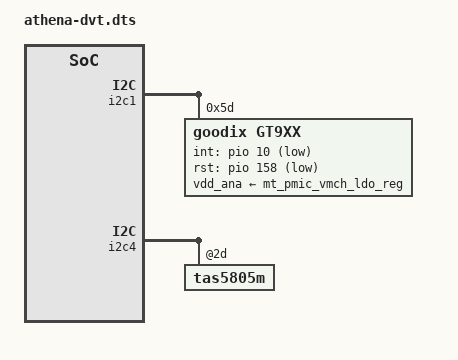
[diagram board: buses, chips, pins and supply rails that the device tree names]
/*
 * Copyright (C) 2020 MediaTek Inc.
 *
 * This program is free software; you can redistribute it and/or modify
 * it under the terms of the GNU General Public License version 2 as
 * published by the Free Software Foundation.
 *
 * This program is distributed in the hope that it will be useful,
 * but WITHOUT ANY WARRANTY; without even the implied warranty of
 * MERCHANTABILITY or FITNESS FOR A PARTICULAR PURPOSE.  See the
 * GNU General Public License for more details.  */


#include "athena.dtsi"
#include <dt-bindings/clock/mt8183-clk.h>

/ {
	compatible = "amzn,athena-pvt", "amzn,athena-dvt", "amzn,athena";

	aliases {
		mute_led_pwm = &pwm;
	};
};

&pwm {
	muteled-enable-two-point-cal;
	invert;
};

/* goodix touch screen */
&i2c1 {
	gt9xx@5d {
		compatible = "goodix,gt9xx";
		reg = <0x5d>;
		irq-flags = <2>;
		vdd_ana-supply = <&mt_pmic_vmch_ldo_reg>;
		int-gpio = <&pio 10 GPIO_ACTIVE_LOW>;
		rst-gpio = <&pio 158 GPIO_ACTIVE_LOW>;
		touchscreen-max-id = <11>;
		touchscreen-size-x = <800>;
		touchscreen-size-y = <1280>;
		touchscreen-max-w = <512>;
		touchscreen-max-p = <512>;
		goodix,slide-wakeup = <0>;
		goodix,type-a-report = <0>;
		goodix,driver-send-cfg = <0>;
		goodix,resume-in-workqueue = <0>;
		goodix,int-sync = <1>;
		goodix,swap-x2y = <1>;
		goodix,esd-protect = <1>;
		goodix,auto-update-cfg = <1>;
		goodix,auto-update = <1>;
		goodix,power-off-sleep = <1>;
		goodix,pen-suppress-finger = <0>;
		status = "okay";
	};
};

/* Remove temp sensor */
&i2c3 {
	tmp103_i2c3_71: tmp103@71 {
		status = "disabled";
	};
	tmp103_i2c3_72: tmp103@72 {
		status = "disabled";
	};
	tmp103_i2c3_73: tmp103@73 {
		status = "disabled";
	};
};

/* Remove lineout detection */
/delete-node/ &accdet;

/* Remove power rail for HP AMP(PAM8908JER) */
&i2c4 {
	tas5805m: tas5805m@2d {
	/delete-property/ vcn33_wifi-supply;
	};
};

&audgpio {
	/delete-property/ pinctrl-11;
	/delete-property/ pinctrl-12;
};
